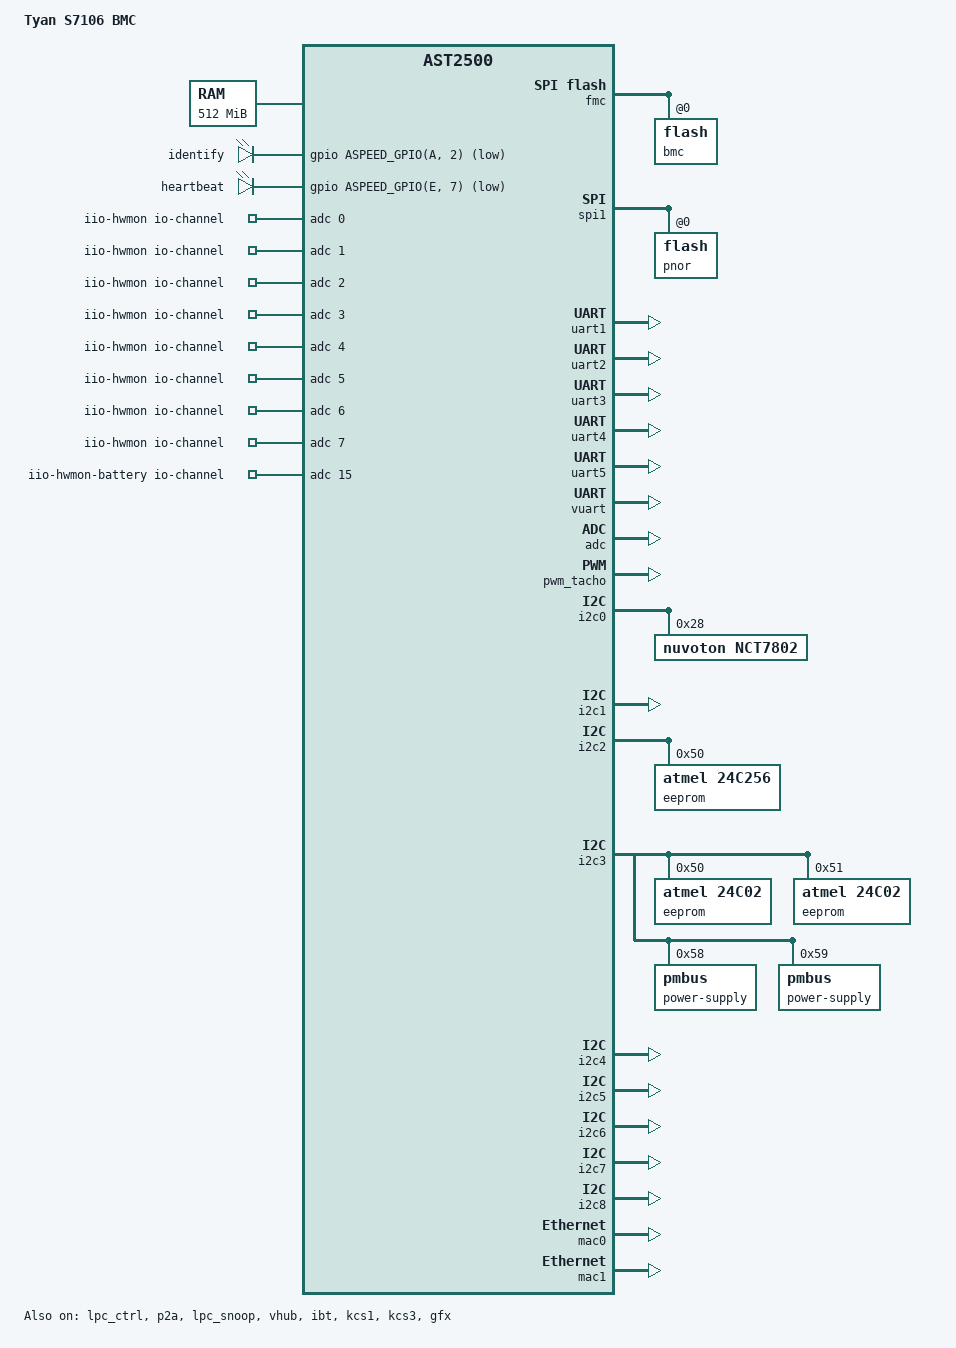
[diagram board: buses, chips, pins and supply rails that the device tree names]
// SPDX-License-Identifier: GPL-2.0+
/dts-v1/;

#include "aspeed-g5.dtsi"
#include <dt-bindings/gpio/aspeed-gpio.h>

/ {
	model = "Tyan S7106 BMC";
	compatible = "tyan,s7106-bmc", "aspeed,ast2500";

	chosen {
		stdout-path = &uart5;
		bootargs = "console=ttyS4,115200 earlycon";
	};

	memory@80000000 {
		device_type = "memory";
		reg = <0x80000000 0x20000000>;
	};

	reserved-memory {
		#address-cells = <1>;
		#size-cells = <1>;
		ranges;

		p2a_memory: region@987f0000 {
			no-map;
			reg = <0x987f0000 0x00010000>; /* 64KB */
		};

		vga_memory: framebuffer@9f000000 {
			no-map;
			reg = <0x9f000000 0x01000000>; /* 16M */
		};

		gfx_memory: framebuffer {
			size = <0x01000000>; /* 16M */
			alignment = <0x01000000>;
			compatible = "shared-dma-pool";
			reusable;
		};
	};

	leds {
		compatible = "gpio-leds";

		identify {
			gpios = <&gpio ASPEED_GPIO(A, 2) GPIO_ACTIVE_LOW>;
		};

		heartbeat {
			gpios = <&gpio ASPEED_GPIO(E, 7) GPIO_ACTIVE_LOW>;
		};
	};

	iio-hwmon {
		compatible = "iio-hwmon";
		io-channels = <&adc 0>, <&adc 1>, <&adc 2>, <&adc 3>,
			<&adc 4>, <&adc 5>, <&adc 6>, <&adc 7>,
			<&adc 8>, <&adc 9>, <&adc 10>, <&adc 11>,
			<&adc 12>, <&adc 13>, <&adc 14>;
	};

	iio-hwmon-battery {
		compatible = "iio-hwmon";
		io-channels = <&adc 15>;
	};
};

&fmc {
	status = "okay";
	flash@0 {
		label = "bmc";
		status = "okay";
		m25p,fast-read;
#include "openbmc-flash-layout.dtsi"
	};
};

&spi1 {
	status = "okay";
	pinctrl-names = "default";
	pinctrl-0 = <&pinctrl_spi1_default>;

	flash@0 {
		status = "okay";
		label = "pnor";
		m25p,fast-read;
	};
};

&uart1 {
	/* Rear RS-232 connector */
	status = "okay";
	pinctrl-names = "default";
	pinctrl-0 = <&pinctrl_txd1_default
			&pinctrl_rxd1_default>;
};

&uart2 {
	/* RS-232 connector on header */
	status = "okay";
	pinctrl-names = "default";
	pinctrl-0 = <&pinctrl_txd2_default
			&pinctrl_rxd2_default>;
};

&uart3 {
	/* Alternative to vuart to internally connect (route) to uart1
	 * when vuart cannot be used due to BIOS limitations.
	 */
	status = "okay";
};

&uart4 {
	/* Alternative to vuart to internally connect (route) to the
	 * external port usually used by uart1 when vuart cannot be
	 * used due to BIOS limitations.
	 */
	status = "okay";
};

&uart5 {
	/* BMC "debug" (console) UART; connected to RS-232 connector
	 * on header; selectable via jumpers as alternative to uart2
	 */
	status = "okay";
};

&vuart {
	status = "okay";
};

&lpc_ctrl {
	status = "okay";
};

&p2a {
	status = "okay";
	memory-region = <&p2a_memory>;
};

&lpc_snoop {
	status = "okay";
	snoop-ports = <0x80>;
};

&adc {
	status = "okay";
};

&vhub {
	status = "okay";
};

&pwm_tacho {
	status = "okay";
	pinctrl-names = "default";
	pinctrl-0 = <&pinctrl_pwm0_default
			&pinctrl_pwm1_default
			&pinctrl_pwm3_default
			&pinctrl_pwm4_default>;

	/* CPU fan #0 */
	fan@0 {
		reg = <0x00>;
		aspeed,fan-tach-ch = /bits/ 8 <0x00>;
	};

	/* CPU fan #1 */
	fan@1 {
		reg = <0x01>;
		aspeed,fan-tach-ch = /bits/ 8 <0x01>;
	};

	/* PWM group for chassis fans #1, #2, #3 and #4  */
	fan@2 {
		reg = <0x03>;
		aspeed,fan-tach-ch = /bits/ 8 <0x02>;
	};

	fan@3 {
		reg = <0x03>;
		aspeed,fan-tach-ch = /bits/ 8 <0x03>;
	};

	fan@4 {
		reg = <0x03>;
		aspeed,fan-tach-ch = /bits/ 8 <0x04>;
	};

	fan@5 {
		reg = <0x03>;
		aspeed,fan-tach-ch = /bits/ 8 <0x05>;
	};

	/* PWM group for chassis fans #5 and #6  */
	fan@6 {
		reg = <0x04>;
		aspeed,fan-tach-ch = /bits/ 8 <0x06>;
	};

	fan@7 {
		reg = <0x04>;
		aspeed,fan-tach-ch = /bits/ 8 <0x07>;
	};
};

&i2c0 {
	status = "okay";

	/* Hardware monitor with temperature sensors */
	nct7802@28 {
		compatible = "nuvoton,nct7802";
		reg = <0x28>;
	};

	/* Also connected to:
	 * - IPMB pin header
	 * - CPU #0 memory error LED @ 0x3A
	 * - CPU #1 memory error LED @ 0x3C
	 */
};

&i2c1 {
	/* Directly connected to PCH SMBUS #0 */
	status = "okay";
};

&i2c2 {
	status = "okay";

	/* BMC EEPROM, incl. mainboard FRU */
	eeprom@50 {
		compatible = "atmel,24c256";
		reg = <0x50>;
	};

	/* Also connected to:
	 * - fan header
	 * - mini-SAS HD connector
	 * - SSATA SGPIO
	 * - via switch (BMC_SMB3_PCH_IE_SML3_EN, active low)
	 *   to PCH SMBUS #3
	 */
};

&i2c3 {
	status = "okay";

	/* PSU1 FRU @ 0xA0 */
	eeprom@50 {
		compatible = "atmel,24c02";
		reg = <0x50>;
	};

	/* PSU2 FRU @ 0xA2 */
	eeprom@51 {
		compatible = "atmel,24c02";
		reg = <0x51>;
	};

	/* PSU1 @ 0xB0 */
	power-supply@58 {
		compatible = "pmbus";
		reg = <0x58>;
	};

	/* PSU2 @ 0xB2 */
	power-supply@59 {
		compatible = "pmbus";
		reg = <0x59>;
	};

	/* Also connected to:
	 * - PCH SMBUS #1
	 */
};

&i2c4 {
	status = "okay";

	/* Connected to:
	 * - PCH SMBUS #2
	 */

	/* Connected via switch to:
	 * - CPU #0 channels ABC VDDQ @ 0x80
	 * - CPU #0 channels DEF VDDQ @ 0x81
	 * - CPU #1 channels ABC VDDQ @ 0x82
	 * - CPU #1 channels DEF VDDQ @ 0x83
	 * - CPU #0 VCCIO & VMCP @ 0x52
	 * - CPU #1 VCCIO & VMCP @ 0x53
	 * - CPU #0 VCCIN @ 0xC0
	 * - CPU #0 VSA @ 0xC2
	 * - CPU #1 VCCIN @ 0xC4
	 * - CPU #1 VSA @ 0xC6
	 * - J110
	 */
};

&i2c5 {
	status = "okay";

	/* Connected via switch (PCH_BMC_SMB_SW_P) to:
	 * - mainboard FRU @ 0xAE
	 * - XDP connector
	 * - ME debug header
	 * - clock buffer @ 0xD8
	 * - i2c4 via switch (PCH_VR_SMBUS_SW_P; controlled by PCH)
	 * - PCH SMBUS
	 */
};

&i2c6 {
	status = "okay";

	/* Connected via switch (BMC_PE_SMB_EN_1_N) to
	 * bus mux (selector BMC_PE_SMB_SW_BIT[1..0]) to:
	 * - 0,0: PCIE slot 1, SMB #1
	 * - 0,1: PCIE slot 1, SMB #2
	 * - 1,0: PCIE slot 2, SMB #1
	 * - 1,1: PCIE slot 2, SMB #2
	 */

	/* Connected via switch (BMC_PE_SMB_EN_2_N) to
	 * bus mux (selector BMC_PE_SMB_SW_BIT[1..0]) to:
	 * - 0,0: OCP0 (A) SMB
	 * - 0,1: OCP0 (C) SMB
	 * - 1,0: OCP1 (A) SMB
	 * - 1,1: NC
	 */
};

&i2c7 {
	status = "okay";

	/* Connected to:
	 * - PCH SMBUS #4
	 */
};

&i2c8 {
	status = "okay";

	/* Not connected */
};

&mac0 {
	status = "okay";
	use-ncsi;
	pinctrl-names = "default";
	pinctrl-0 = <&pinctrl_rmii1_default>;
};

&mac1 {
	status = "okay";
	pinctrl-names = "default";
	pinctrl-0 = <&pinctrl_rgmii2_default &pinctrl_mdio2_default>;
};

&ibt {
	status = "okay";
};

&kcs1 {
	status = "okay";
	aspeed,lpc-io-reg = <0xca8>;
};

&kcs3 {
	status = "okay";
	aspeed,lpc-io-reg = <0xca2>;
};

/* Enable BMC VGA output to show an early (pre-BIOS) boot screen */
&gfx {
	status = "okay";
	memory-region = <&gfx_memory>;
};

/* We're following the GPIO naming as defined at
 * https://github.com/openbmc/docs/blob/master/designs/device-tree-gpio-naming.md.
 *
 * Notes on led-identify and id-button:
 * - A physical button is connected to id-button which
 *   triggers the clock on a D flip-flop. The /Q output of the
 *   flip-flop drives its D input.
 * - The flip-flop's Q output drives led-identify which is
 *   connected to LEDs.
 * - With that, every button press toggles the LED between on and off.
 *
 * Notes on power-, reset- and nmi- button and control:
 * - The -button signals can be used to monitor physical buttons.
 * - The -control signals can be used to actuate the specific
 *   operation.
 * - In hardware, the -button signals are connected to the -control
 *   signals through drivers with the -control signals being
 *   protected through diodes.
 */
&gpio {
	status = "okay";
	gpio-line-names =
	/*A0*/		"",
	/*A1*/		"",
	/*A2*/		"led-identify", /* in/out: BMC_IDLED_ON_N */
	/*A3*/		"",
	/*A4*/		"",
	/*A5*/		"",
	/*A6*/		"",
	/*A7*/		"",
	/*B0-B7*/	"","","","","","","","",
	/*C0*/		"",
	/*C1*/		"",
	/*C2*/		"",
	/*C3*/		"",
	/*C4*/		"id-button", /* in/out: BMC_IDBTN_IN_OUT_N */
	/*C5*/		"post-complete", /* in: FM_BIOS_POST_CMPLT_N */
	/*C6*/		"",
	/*C7*/		"",
	/*D0*/		"",
	/*D1*/		"",
	/*D2*/		"power-chassis-good", /* in: SYS_PWROK_BUF */
	/*D3*/		"platform-reset", /* in: SYS_PLTRST_N */
	/*D4*/		"",
	/*D5*/		"",
	/*D6*/		"",
	/*D7*/		"",
	/*E0*/		"power-button", /* in: BMC_PWBTN_IN_N */
	/*E1*/		"power-chassis-control", /* out: BMC_PWRBTN_OUT_N */
	/*E2*/		"reset-button", /* in: BMC_RSTBTN_IN_N */
	/*E3*/		"reset-control", /* out: BMC_RSTBTN_OUT_N */
	/*E4*/		"nmi-button", /* in: BMC_NMIBTN_IN_N */
	/*E5*/		"nmi-control", /* out: BMC_NMIBTN_OUT_N */
	/*E6*/		"",
	/*E7*/		"led-heartbeat", /* out: BMC_HEARTBRAT_LED_N */
	/*F0*/		"",
	/*F1*/		"clear-cmos-control", /* out: BMC_CLR_CMOS_N */
	/*F2*/		"",
	/*F3*/		"",
	/*F4*/		"led-fault", /* out: AST_HW_FAULT_N */
	/*F5*/		"",
	/*F6*/		"",
	/*F7*/		"",
	/*G0*/		"BMC_PE_SMB_EN_1_N", /* out */
	/*G1*/		"BMC_PE_SMB_EN_2_N", /* out */
	/*G2*/		"",
	/*G3*/		"",
	/*G4*/		"",
	/*G5*/		"",
	/*G6*/		"",
	/*G7*/		"",
	/*H0-H7*/	"","","","","","","","",
	/*I0-I7*/	"","","","","","","","",
	/*J0-J7*/	"","","","","","","","",
	/*K0-K7*/	"","","","","","","","",
	/*L0-L7*/	"","","","","","","","",
	/*M0-M7*/	"","","","","","","","",
	/*N0-N7*/	"","","","","","","","",
	/*O0-O7*/	"","","","","","","","",
	/*P0-P7*/	"","","","","","","","",
	/*Q0*/		"",
	/*Q1*/		"",
	/*Q2*/		"",
	/*Q3*/		"",
	/*Q4*/		"BMC_PE_SMB_SW_BIT0", /* out */
	/*Q5*/		"BMC_PE_SMB_SW_BIT1", /* out */
	/*Q6*/		"",
	/*Q7*/		"",
	/*R0-R7*/	"","","","","","","","",
	/*S0-S7*/	"","","","","","","","",
	/*T0-T7*/	"","","","","","","","",
	/*U0-U7*/	"","","","","","","","",
	/*V0-V7*/	"","","","","","","","",
	/*W0-W7*/	"","","","","","","","",
	/*X0-X7*/	"","","","","","","","",
	/*Y0-Y7*/	"","","","","","","","",
	/*Z0-Z7*/	"","","","","","","","",
	/*AA0*/		"",
	/*AA1*/		"",
	/*AA2*/		"",
	/*AA3*/		"BMC_SMB3_PCH_IE_SML3_EN", /* out */
	/*AA4*/		"",
	/*AA5*/		"",
	/*AA6*/		"",
	/*AA7*/		"",
	/*AB0-AB7*/	"","","","","","","","";
};
